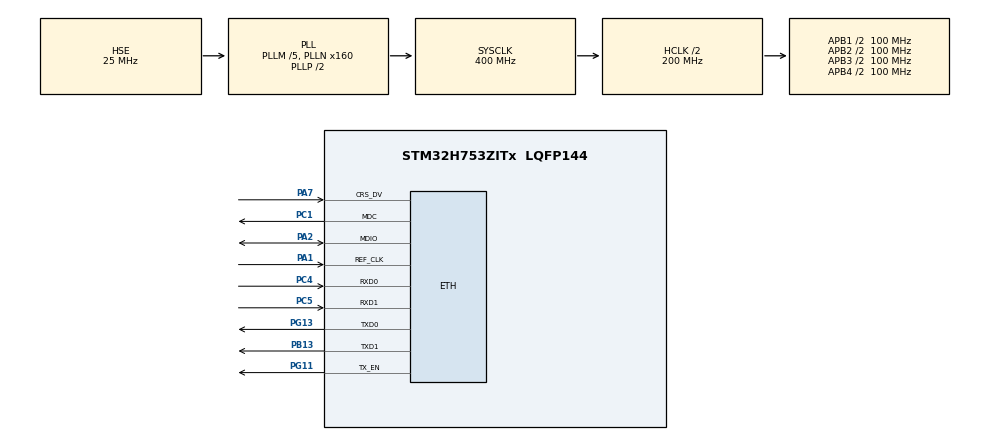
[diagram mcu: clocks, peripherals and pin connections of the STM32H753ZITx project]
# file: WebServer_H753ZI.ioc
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ADC3.Channel-0\#ChannelRegularConversion=ADC_CHANNEL_TEMPSENSOR
ADC3.ClockPrescalerADC3=ADC_CLOCK_ASYNC_DIV16
ADC3.NbrOfConversionFlag=1
ADC3.OffsetNumber-0\#ChannelRegularConversion=ADC_OFFSET_NONE
ADC3.OffsetSignedSaturation-0\#ChannelRegularConversion=DISABLE
ADC3.Rank-0\#ChannelRegularConversion=1
ADC3.SamplingTime-0\#ChannelRegularConversion=ADC_SAMPLETIME_810CYCLES_5
CORTEX_M7.CPU_DCache=Disabled
CORTEX_M7.CPU_ICache=Enabled
CORTEX_M7.MPU_Control=MPU_PRIVILEGED_DEFAULT
CORTEX_M7.default_mode_Activation=1
ETH.MediaInterface=HAL_ETH_RMII_MODE
FREERTOS.Tasks01=defaultTask,24,128,StartDefaultTask,Default,NULL,Dynamic,NULL,NULL
FREERTOS.configTOTAL_HEAP_SIZE=32768
FREERTOS.configUSE_NEWLIB_REENTRANT=1
FREERTOS.configUSE_STATS_FORMATTING_FUNCTIONS=1
LWIP.BSP.number=1
LWIP.ETH_RX_BUFFER_CNT=16
LWIP.GATEWAY_ADDRESS=192.168.010.110
LWIP.IP_ADDRESS=192.168.010.172
LWIP.LWIP_DHCP=0
LWIP.MEMP_NUM_NETCONN=12
LWIP.MEMP_NUM_PBUF=32
LWIP.MEMP_NUM_TCP_PCB_LISTEN=10
LWIP.MEM_SIZE=16384
LWIP.NETMASK_ADDRESS=255.255.255.000
LWIP.PBUF_POOL_SIZE=32
LWIP.TCPIP_THREAD_STACKSIZE=2048
LWIP.Version=v2.2.1_Cube
LWIP0.BSP.STBoard=false
LWIP0.BSP.api=BSP_COMPONENT_DRIVER
LWIP0.BSP.component=LAN8742
LWIP0.BSP.instance=LAN8742
LWIP0.BSP.name=Driver_PHY
LWIP0.BSP.semaphore=S_LAN8742
LWIP0.BSP.solution=LAN8742
Mcu.Family=STM32H7
Mcu.Name=STM32H753ZITx
Mcu.Package=LQFP144
NUCLEO-H753ZI.BUTTON=1
NUCLEO-H753ZI.LD1=true
NUCLEO-H753ZI.LD2=true
NUCLEO-H753ZI.LD3=true
NUCLEO-H753ZI.VCP=true
NVIC.ETH_IRQn=true\:5\:0\:false\:false\:true\:true\:true\:true\:true
NVIC.EXTI15_10_IRQn=true\:5\:0\:false\:false\:true\:true\:false\:true\:true
NVIC.PriorityGroup=NVIC_PRIORITYGROUP_4
NVIC.TIM6_DAC_IRQn=true\:15\:0\:false\:false\:true\:false\:false\:true\:true
NVIC.TimeBase=TIM6_DAC_IRQn
NVIC.TimeBaseIP=TIM6
PA1.Mode=RMII
PA1.Signal=ETH_REF_CLK
PA2.Mode=RMII
PA2.Signal=ETH_MDIO
PA7.Mode=RMII
PA7.Signal=ETH_CRS_DV
PB13.Mode=RMII
PB13.Signal=ETH_TXD1
PC1.Mode=RMII
PC1.Signal=ETH_MDC
PC14-OSC32_IN\ (OSC32_IN).Signal=RCC_OSC32_IN
PC15-OSC32_OUT\ (OSC32_OUT).Signal=RCC_OSC32_OUT
PC4.Mode=RMII
PC4.Signal=ETH_RXD0
PC5.Mode=RMII
PC5.Signal=ETH_RXD1
PD8.Signal=USART3_TX
PD9.Signal=USART3_RX
PG11.Mode=RMII
PG11.Signal=ETH_TX_EN
PG13.Mode=RMII
PG13.Signal=ETH_TXD0
PH0-OSC_IN\ (PH0).Mode=HSE-External-Oscillator
PH0-OSC_IN\ (PH0).Signal=RCC_OSC_IN
PH1-OSC_OUT\ (PH1).Mode=HSE-External-Oscillator
PH1-OSC_OUT\ (PH1).Signal=RCC_OSC_OUT
ProjectManager.HeapSize=0x200
ProjectManager.StackSize=0x400
ProjectManager.TargetToolchain=STM32CubeIDE
RCC.ADCCLockSelection=RCC_ADCCLKSOURCE_CLKP
RCC.ADCFreq_Value=64000000
RCC.APB1Freq_Value=100000000
RCC.APB2Freq_Value=100000000
RCC.APB3Freq_Value=100000000
RCC.APB4Freq_Value=100000000
RCC.CortexFreq_Value=400000000
RCC.D1PPRE=RCC_APB3_DIV2
RCC.D2PPRE1=RCC_APB1_DIV2
RCC.D2PPRE2=RCC_APB2_DIV2
RCC.D3PPRE=RCC_APB4_DIV2
RCC.DIVM1=5
RCC.DIVM2=5
RCC.DIVM3=5
RCC.DIVN1=160
RCC.DIVQ1=4
RCC.HCLKFreq_Value=200000000
RCC.HPRE=RCC_HCLK_DIV2
RCC.HSE_VALUE=25000000
RCC.PLLFRACN=0
RCC.PLLSourceVirtual=RCC_PLLSOURCE_HSE
RCC.PWR_Regulator_Voltage_Scale=PWR_REGULATOR_VOLTAGE_SCALE1
RCC.SYSCLKFreq_VALUE=400000000
RCC.SYSCLKSource=RCC_SYSCLKSOURCE_PLLCLK
RCC.USBFreq_Value=200000000
VP_ADC3_TempSens_Input.Mode=IN-TempSens
VP_ADC3_Vref_Input.Mode=IN-Vrefint
VP_FREERTOS_VS_CMSIS_V2.Mode=CMSIS_V2
VP_LWIP_VS_Enabled.Mode=Enabled
VP_MEMORYMAP_VS_MEMORYMAP.Mode=CurAppReg
VP_NUCLEO-H753ZI_VS_BSP_COMMON.Mode=COMMON
VP_SYS_VS_tim6.Mode=TIM6
board=NUCLEO-H753ZI

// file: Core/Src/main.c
/* USER CODE BEGIN Header */
/**
  ******************************************************************************
  * @file           : main.c
  * @brief          : Main program body
  ******************************************************************************
  * @attention
  *
  * Copyright (c) 2026 STMicroelectronics.
  * All rights reserved.
  *
  * This software is licensed under terms that can be found in the LICENSE file
  * in the root directory of this software component.
  * If no LICENSE file comes with this software, it is provided AS-IS.
  *
  ******************************************************************************
  */
/* USER CODE END Header */
#include "main.h"
#include "FreeRTOS.h"
#include "cmsis_os2.h"
#include "lwip.h"

/* USER CODE BEGIN Includes */
#include "lwip/api.h"
#include <string.h>
/* USER CODE END Includes */

COM_InitTypeDef BspCOMInit;
ADC_HandleTypeDef hadc3;

/* Definitions for defaultTask */
osThreadId_t defaultTaskHandle;
const osThreadAttr_t defaultTask_attributes = {
  .name = "defaultTask",
  .stack_size = 4096 * 4,
  .priority = (osPriority_t) osPriorityNormal,
};

void SystemClock_Config(void);
void PeriphCommonClock_Config(void);
static void MPU_Config(void);
static void MX_GPIO_Init(void);
static void MX_ADC3_Init(void);
void StartDefaultTask(void *argument);

/* USER CODE BEGIN 0 */
#include <stdio.h>
#include <string.h>

/* Adicione as duas linhas abaixo para o compilador reconhecer as funções nativas */
#include "FreeRTOS.h"
#include "task.h"

/* FUNÇÃO DE DELAY ULTRA-PRECISO USANDO O CONTADOR DE CICLOS DA CPU (DWT) */
void DWT_Delay_ms(uint32_t ms) {
    uint32_t startTicks = DWT->CYCCNT;
    uint32_t delayTicks = ms * (SystemCoreClock / 1000);
    while ((DWT->CYCCNT - startTicks) < delayTicks);
}

/* FUNÇÃO DE LEITURA DA TEMPERATURA DA MCU VIA ADC3 */
float Read_MCU_Temperature(void)
{
    uint32_t raw_val = 0;

    HAL_ADC_Start(&hadc3);

    if (HAL_ADC_PollForConversion(&hadc3, 10) == HAL_OK)
    {
        raw_val = HAL_ADC_GetValue(&hadc3);
    }

    HAL_ADC_Stop(&hadc3);

    // Conversão de 16-bit resolution do STM32H7 para Celsius
    float temperature = (((float)raw_val * (3.3f / 65535.0f)) - 0.76f) / 0.025f + 25.0f;

    return temperature;
}

void BlinkTask(void *argument) {
  while(1) {
    BSP_LED_Toggle(LED_YELLOW);
    osDelay(500);
  }
}

static void http_server_serve(struct netconn *conn) {
  struct netbuf *inbuf;
  char *buf;
  u16_t buflen;
  err_t err;

  err = netconn_recv(conn, &inbuf);
  if (err == ERR_OK) {
    netbuf_data(inbuf, (void**)&buf, &buflen);

    /* 1. SE O NAVEGADOR PEDIR A PÁGINA PRINCIPAL (GET / ) */
    if (buflen >= 6 && strncmp(buf, "GET / ", 6) == 0) {

    	char html_page[6000];
    	      snprintf(html_page, 6000,
    	          "HTTP/1.1 200 OK\r\n"
    	          "Content-Type: text/html; charset=utf-8\r\n"
    	          "Connection: close\r\n\r\n"
    	          "<!DOCTYPE HTML>"
    	          "<html>"
    	          "<head>"
    	          "  <title>Dashboard STM32H7</title>"
    	          "  <meta charset='utf-8'>"
    	          "  <meta name='viewport' content='width=device-width, initial-scale=1.0'>" // <--- ADICIONADO AQUI
    	          "  <style>"
    	          "    body { font-family: 'Segoe UI', Tahoma, Geneva, Verdana, sans-serif; background-color: #0f172a; color: #f8fafc; margin: 0; padding: 10px; }"
    	          "    .container { width: 100%%; max-width: 950px; margin: auto; box-sizing: border-box; }" // <--- AJUSTADO AQUI
    	          "    .header { background: linear-gradient(135deg, #3b82f6, #1d4ed8); padding: 15px; border-radius: 12px; text-align: center; box-shadow: 0 4px 6px rgba(0,0,0,0.3); margin-bottom: 15px; }"
    	          "    .header h2 { margin: 0; color: #ffffff; font-size: 20px; }"
    	          "    .header p { margin: 5px 0 0 0; color: #cbd5e1; font-size: 13px; }"
    	          "    .grid { display: grid; grid-template-columns: repeat(auto-fit, minmax(240px, 1fr)); gap: 15px; margin-bottom: 15px; }"
    	          "    .card { background: #1e293b; padding: 15px; border-radius: 12px; box-shadow: 0 4px 6px rgba(0,0,0,0.2); border-left: 5px solid #3b82f6; }"
    	          "    .card.temp { border-left-color: #ef4444; }"
    	          "    .card.ram { border-left-color: #10b981; }"
    	          "    .card.uptime { border-left-color: #f59e0b; }"
    	          "    .card h3 { margin-top: 0; font-size: 12px; color: #94a3b8; text-transform: uppercase; letter-spacing: 1px; }"
    	          "    .card .value { font-size: 22px; font-weight: bold; color: #f8fafc; margin-top: 5px; }"
    	          "    .tasks-card { background: #1e293b; padding: 15px; border-radius: 12px; box-shadow: 0 4px 6px rgba(0,0,0,0.2); margin-top: 15px; overflow-x: auto; }"
    	          "    .tasks-card h3 { margin-top: 0; color: #38bdf8; border-bottom: 1px solid #334155; padding-bottom: 8px; font-size: 15px; }"
    	          "    pre { background: #0f172a; color: #38bdf8; padding: 10px; border-radius: 8px; overflow-x: auto; font-family: 'Courier New', Courier, monospace; font-size: 12px; border: 1px solid #334155; margin: 0; }"
    	          "    button { touch-action: manipulation; }" // Melhora o toque em telas mobile
    	          "  </style>"
    	          // ... (o restante do script e do corpo HTML continua exatamente igual)
          "  <script>"
          "    let tempoSelecionado = 0;"
          "    "
          "    function ajustarTempo(valor) {"
          "      tempoSelecionado += valor;"
          "      if (tempoSelecionado < 0) tempoSelecionado = 0;"
          "      if (tempoSelecionado > 5000) tempoSelecionado = 5000;"
          "      document.getElementById('tempoPulsoVal').innerText = tempoSelecionado + ' ms';"
          "    }"
          "    "
          "    function dispararPulso() {"
          "      fetch('/disparo?tempo=' + tempoSelecionado)"
          "        .then(response => response.text())"
          "        .then(res => {"
          "           alert('Pulso de ' + tempoSelecionado + ' ms enviado com sucesso!');"
          "        })"
          "        .catch(error => console.log('Erro no disparo'));"
          "    }"
          "    "
          "    function atualizarPainel() {"
          "      fetch('/metrics')"
          "        .then(res => res.text())"
          "        .then(html => { document.getElementById('metrics').innerHTML = html; });"
          "      "
          "      fetch('/tasks')"
          "        .then(res => res.text())"
          "        .then(html => { document.getElementById('tasks').innerHTML = html; });"
          "    }"
          "    "
          "    atualizarPainel();"
          "    setInterval(atualizarPainel, 2000);"
          "  </script>"
          "</head>"
          "<body>"
          "  <div class='container'>"
          "    <div class='header'>"
          "      <h2>Painel de Controle STM32H753ZI</h2>"
          "      <p>Desenvolvido por Junior Lopes</p>"
          "    </div>"
          "    "
          "    <div id='metrics'>"
          "      <p style='text-align:center; color:#94a3b8;'>Carregando métricas...</p>"
          "    </div>"
          "    "
          "    <div class='card' style='border-left-color: #8b5cf6; margin-top: 20px; margin-bottom: 20px;'>"
          "      <h3>Gerador de Pulso Digital</h3>"
          "      <div class='value' id='tempoPulsoVal' style='margin-bottom: 15px;'>0 ms</div>"
          "      <button onclick='ajustarTempo(-10)' style='padding: 8px 15px; background: #334155; color: white; border: none; border-radius: 6px; cursor: pointer; font-weight: bold; margin-right: 5px;'>- 10 ms</button>"
          "      <button onclick='ajustarTempo(10)' style='padding: 8px 15px; background: #334155; color: white; border: none; border-radius: 6px; cursor: pointer; font-weight: bold; margin-right: 15px;'>+ 10 ms</button>"
          "      <button onclick='dispararPulso()' style='padding: 8px 20px; background: #8b5cf6; color: white; border: none; border-radius: 6px; cursor: pointer; font-weight: bold;'>Disparar Pulso</button>"
          "    </div>"
          "    "
          "    <div id='tasks'>"
          "      <p style='text-align:center; color:#94a3b8;'>Carregando tarefas...</p>"
          "    </div>"
          "    "
          "  </div>"
          "</body>"
          "</html>"
      );
      netconn_write(conn, html_page, strlen(html_page), NETCONN_COPY);
    }

    /* 2. ROTA PARA OS CARDS DE TOPO (GET /metrics ) */
    else if (strstr(buf, "GET /metrics") != NULL) {
      char metrics_buffer[512];
      uint32_t uptime_s = xTaskGetTickCount() / 1000;
      uint32_t free_heap = xPortGetFreeHeapSize();
      float mcu_temp = Read_MCU_Temperature();

      int temp_int = (int)mcu_temp;
      int temp_dec = (int)((mcu_temp - temp_int) * 100);
      if (temp_dec < 0) temp_dec = -temp_dec;

      snprintf(metrics_buffer, sizeof(metrics_buffer),
          "HTTP/1.1 200 OK\r\n"
          "Content-Type: text/html; charset=utf-8\r\n"
          "Connection: close\r\n\r\n"
          "<div class='grid'>"
          "  <div class='card uptime'>"
          "    <h3>Tempo Ligado (Uptime)</h3>"
          "    <div class='value'>%lu s</div>"
          "  </div>"
          "  <div class='card ram'>"
          "    <h3>Memória RAM Livre</h3>"
          "    <div class='value'>%lu bytes</div>"
          "  </div>"
          "  <div class='card temp'>"
          "    <h3>Temperatura da MCU</h3>"
          "    <div class='value'>%d.%02d &deg;C</div>"
          "  </div>"
          "</div>",
          uptime_s, free_heap, temp_int, temp_dec
      );
      netconn_write(conn, metrics_buffer, strlen(metrics_buffer), NETCONN_COPY);
    }

    /* 3. ROTA PARA A TABELA DE TAREFAS (GET /tasks ) */
    else if (strstr(buf, "GET /tasks") != NULL) {
      char tasks_buffer[1024];
      char task_list_buffer[512];
      vTaskList(task_list_buffer);

      snprintf(tasks_buffer, sizeof(tasks_buffer),
          "HTTP/1.1 200 OK\r\n"
          "Content-Type: text/html; charset=utf-8\r\n"
          "Connection: close\r\n\r\n"
          "<div class='tasks-card'>"
          "  <h3>Status das Tarefas (FreeRTOS)</h3>"
          "  <p style='color:#94a3b8; font-size:12px;'><i>(Nome, Estado, Prioridade, Pilha Sobrando, ID)</i></p>"
          "  <pre>%s</pre>"
          "</div>",
          task_list_buffer
      );
      netconn_write(conn, tasks_buffer, strlen(tasks_buffer), NETCONN_COPY);
    }

    /* 4. ROTA DE DISPARO DE PULSO (GET /disparo ) */
        else if (strstr(buf, "GET /disparo") != NULL) {
          int tempo_ms = 500;

          char *p = strstr(buf, "tempo=");
          if (p != NULL) {
              tempo_ms = atoi(p + 6);
          }

          if (tempo_ms < 0) tempo_ms = 0;
          if (tempo_ms > 5000) tempo_ms = 5000;

          // --- PROTEÇÃO PARA O TEMPO 0 (NÃO DISPARA NADA) ---
          if (tempo_ms == 0) {
              char resp_buffer[64];
              snprintf(resp_buffer, sizeof(resp_buffer), "HTTP/1.1 200 OK\r\n\r\nPulso ignorado (0 ms)");
              netconn_write(conn, resp_buffer, strlen(resp_buffer), NETCONN_COPY);
          }
          else {
              // --- ACIONAMENTO DUPLO (LED Vermelho + Pino PB1 para o Osciloscópio) ---
              BSP_LED_On(LED_RED);                        // Liga o LED Vermelho físico
              HAL_GPIO_WritePin(GPIOB, GPIO_PIN_1, GPIO_PIN_SET); // <--- Coloca PB1 em Nível Alto (3.3V)

              // Multiplica por 19 para compensar o clock real do hardware do H7
              TIM2->ARR = tempo_ms * 19;
              TIM2->EGR = TIM_EGR_UG;   // Atualiza o evento do timer
              TIM2->CR1 |= TIM_CR1_CEN; // Dispara a contagem por hardware

              // Aguarda o hardware do TIM2 concluir o tempo exato de forma autônoma
              while ((TIM2->CR1 & TIM_CR1_CEN) != 0);

              // Desliga ambos ao mesmo tempo
              BSP_LED_Off(LED_RED);                       // Apaga o LED Vermelho
              HAL_GPIO_WritePin(GPIOB, GPIO_PIN_1, GPIO_PIN_RESET); // <--- Retorna PB1 para 0V
              // --------------------------------------------------------------------

              char resp_buffer[64];
              snprintf(resp_buffer, sizeof(resp_buffer), "HTTP/1.1 200 OK\r\n\r\nPulso de %d ms OK", tempo_ms);
              netconn_write(conn, resp_buffer, strlen(resp_buffer), NETCONN_COPY);
          }
        }

    netbuf_delete(inbuf);
  }
  netconn_close(conn);
}

/* USER CODE END 0 */

int main(void)
{

  /* MPU Configuration--------------------------------------------------------*/
  MPU_Config();

  /* Enable the CPU Cache */

  /* Enable I-Cache---------------------------------------------------------*/
  SCB_EnableICache();

  /* MCU Configuration--------------------------------------------------------*/

  /* Reset of all peripherals, Initializes the Flash interface and the Systick. */
  HAL_Init();

  /* Configure the system clock */
  SystemClock_Config();

  /* Configure the peripherals common clocks */
  PeriphCommonClock_Config();

  /* Initialize all configured peripherals */
  MX_GPIO_Init();
  MX_ADC3_Init();

  /* USER CODE BEGIN 2 */
      // 1. Configuração manual do pino PB1 como Saída Digital (para o osciloscópio)
      GPIO_InitTypeDef GPIO_InitStruct = {0};
      __HAL_RCC_GPIOB_CLK_ENABLE();

      GPIO_InitStruct.Pin = GPIO_PIN_1;
      GPIO_InitStruct.Mode = GPIO_MODE_OUTPUT_PP;
      GPIO_InitStruct.Pull = GPIO_NOPULL;
      GPIO_InitStruct.Speed = GPIO_SPEED_FREQ_HIGH;
      HAL_GPIO_Init(GPIOB, &GPIO_InitStruct);

      // 2. Configuração manual do TIM2 com frequência fixa real de 200 MHz do H7
      __HAL_RCC_TIM2_CLK_ENABLE();

      // O barramento APB1 do timer opera a 200 MHz baseado no seu SystemClock_Config
      // Dividimos por 200.000 para que cada incremento do timer valia exatamente 1 milissegundo (1 kHz)
      TIM2->PSC = 200000 - 1;
      TIM2->CR1 |= TIM_CR1_OPM; // Ativa o Modo de Pulso Único (para sozinho após o tempo)
    /* USER CODE END 2 */

  /* Init scheduler */
  osKernelInitialize();

  /* Create the thread(s) */
  /* creation of defaultTask */
  defaultTaskHandle = osThreadNew(StartDefaultTask, NULL, &defaultTask_attributes);

  /* USER CODE BEGIN RTOS_THREADS */
    const osThreadAttr_t blinkTask_attributes = {
      .name = "blinkTask",
      .stack_size = 128 * 4,
      .priority = (osPriority_t) osPriorityNormal,
    };
    osThreadNew(BlinkTask, NULL, &blinkTask_attributes);
  /* USER CODE END RTOS_THREADS */

  /* Initialize leds */
  BSP_LED_Init(LED_GREEN);
  BSP_LED_Init(LED_YELLOW);
  BSP_LED_Init(LED_RED);

  /* Initialize USER push-button, will be used to trigger an interrupt each time it's pressed.*/
  BSP_PB_Init(BUTTON_USER, BUTTON_MODE_EXTI);

  /* Initialize COM1 port (115200, 8 bits (7-bit data + 1 stop bit), no parity */
  BspCOMInit.BaudRate   = 115200;
  BspCOMInit.WordLength = COM_WORDLENGTH_8B;
  BspCOMInit.StopBits   = COM_STOPBITS_1;
  BspCOMInit.Parity     = COM_PARITY_NONE;
  BspCOMInit.HwFlowCtl  = COM_HWCONTROL_NONE;
  if (BSP_COM_Init(COM1, &BspCOMInit) != BSP_ERROR_NONE)
  {
    Error_Handler();
  }

  /* Start scheduler */
  osKernelStart();

  /* We should never get here as control is now taken by the scheduler */

  /* Infinite loop */
  while (1)
  {

  }
}

void SystemClock_Config(void)
{
  RCC_OscInitTypeDef RCC_OscInitStruct = {0};
  RCC_ClkInitTypeDef RCC_ClkInitStruct = {0};

  /** Supply configuration update enable
  */
  HAL_PWREx_ConfigSupply(PWR_LDO_SUPPLY);

  /** Configure the main internal regulator output voltage
  */
  __HAL_PWR_VOLTAGESCALING_CONFIG(PWR_REGULATOR_VOLTAGE_SCALE1);

  while(!__HAL_PWR_GET_FLAG(PWR_FLAG_VOSRDY)) {}

  /** Initializes the RCC Oscillators according to the specified parameters
  * in the RCC_OscInitTypeDef structure.
  */
  RCC_OscInitStruct.OscillatorType = RCC_OSCILLATORTYPE_HSI|RCC_OSCILLATORTYPE_HSE;
  RCC_OscInitStruct.HSEState = RCC_HSE_ON;
  RCC_OscInitStruct.HSIState = RCC_HSI_DIV1;
  RCC_OscInitStruct.HSICalibrationValue = RCC_HSICALIBRATION_DEFAULT;
  RCC_OscInitStruct.PLL.PLLState = RCC_PLL_ON;
  RCC_OscInitStruct.PLL.PLLSource = RCC_PLLSOURCE_HSE;
  RCC_OscInitStruct.PLL.PLLM = 5;
  RCC_OscInitStruct.PLL.PLLN = 160;
  RCC_OscInitStruct.PLL.PLLP = 2;
  RCC_OscInitStruct.PLL.PLLQ = 4;
  RCC_OscInitStruct.PLL.PLLR = 2;
  RCC_OscInitStruct.PLL.PLLRGE = RCC_PLL1VCIRANGE_2;
  RCC_OscInitStruct.PLL.PLLVCOSEL = RCC_PLL1VCOWIDE;
  RCC_OscInitStruct.PLL.PLLFRACN = 0;
  if (HAL_RCC_OscConfig(&RCC_OscInitStruct) != HAL_OK)
  {
    Error_Handler();
  }

  /** Initializes the CPU, AHB and APB buses clocks
  */
  RCC_ClkInitStruct.ClockType = RCC_CLOCKTYPE_HCLK|RCC_CLOCKTYPE_SYSCLK
                              |RCC_CLOCKTYPE_PCLK1|RCC_CLOCKTYPE_PCLK2
                              |RCC_CLOCKTYPE_D3PCLK1|RCC_CLOCKTYPE_D1PCLK1;
  RCC_ClkInitStruct.SYSCLKSource = RCC_SYSCLKSOURCE_PLLCLK;
  RCC_ClkInitStruct.SYSCLKDivider = RCC_SYSCLK_DIV1;
  RCC_ClkInitStruct.AHBCLKDivider = RCC_HCLK_DIV2;
  RCC_ClkInitStruct.APB3CLKDivider = RCC_APB3_DIV2;
  RCC_ClkInitStruct.APB1CLKDivider = RCC_APB1_DIV2;
  RCC_ClkInitStruct.APB2CLKDivider = RCC_APB2_DIV2;
  RCC_ClkInitStruct.APB4CLKDivider = RCC_APB4_DIV2;

  if (HAL_RCC_ClockConfig(&RCC_ClkInitStruct, FLASH_LATENCY_2) != HAL_OK)
  {
    Error_Handler();
  }
}

void PeriphCommonClock_Config(void)
{
  RCC_PeriphCLKInitTypeDef PeriphClkInitStruct = {0};

  /** Initializes the peripherals clock
  */
  PeriphClkInitStruct.PeriphClockSelection = RCC_PERIPHCLK_CKPER;
  PeriphClkInitStruct.CkperClockSelection = RCC_CLKPSOURCE_HSI;
  if (HAL_RCCEx_PeriphCLKConfig(&PeriphClkInitStruct) != HAL_OK)
  {
    Error_Handler();
  }
}

static void MX_ADC3_Init(void)
{

  ADC_ChannelConfTypeDef sConfig = {0};

  /** Common config
  */
  hadc3.Instance = ADC3;
  hadc3.Init.ClockPrescaler = ADC_CLOCK_ASYNC_DIV16;
  hadc3.Init.ScanConvMode = ADC_SCAN_DISABLE;
  hadc3.Init.EOCSelection = ADC_EOC_SINGLE_CONV;
  hadc3.Init.LowPowerAutoWait = DISABLE;
  hadc3.Init.ContinuousConvMode = DISABLE;
  hadc3.Init.NbrOfConversion = 1;
  hadc3.Init.DiscontinuousConvMode = DISABLE;
  hadc3.Init.ExternalTrigConv = ADC_SOFTWARE_START;
  hadc3.Init.ExternalTrigConvEdge = ADC_EXTERNALTRIGCONVEDGE_NONE;
  hadc3.Init.ConversionDataManagement = ADC_CONVERSIONDATA_DR;
  hadc3.Init.Overrun = ADC_OVR_DATA_PRESERVED;
  hadc3.Init.LeftBitShift = ADC_LEFTBITSHIFT_NONE;
  hadc3.Init.OversamplingMode = DISABLE;
  hadc3.Init.Oversampling.Ratio = 1;
  if (HAL_ADC_Init(&hadc3) != HAL_OK)
  {
    Error_Handler();
  }
  hadc3.Init.Resolution = ADC_RESOLUTION_16B;
  if (HAL_ADC_Init(&hadc3) != HAL_OK)
  {
    Error_Handler();
  }

  /** Configure Regular Channel
  */
  sConfig.Channel = ADC_CHANNEL_TEMPSENSOR;
  sConfig.Rank = ADC_REGULAR_RANK_1;
  sConfig.SamplingTime = ADC_SAMPLETIME_810CYCLES_5;
  sConfig.SingleDiff = ADC_SINGLE_ENDED;
  sConfig.OffsetNumber = ADC_OFFSET_NONE;
  sConfig.Offset = 0;
  sConfig.OffsetSignedSaturation = DISABLE;
  if (HAL_ADC_ConfigChannel(&hadc3, &sConfig) != HAL_OK)
  {
    Error_Handler();
  }

}

static void MX_GPIO_Init(void)
{

  /* GPIO Ports Clock Enable */
  __HAL_RCC_GPIOC_CLK_ENABLE();
  __HAL_RCC_GPIOH_CLK_ENABLE();
  __HAL_RCC_GPIOA_CLK_ENABLE();
  __HAL_RCC_GPIOB_CLK_ENABLE();
  __HAL_RCC_GPIOG_CLK_ENABLE();

}

  /* USER CODE BEGIN 5 */
void StartDefaultTask(void *argument)
{

	/* Espera 3 segundos para a Auto-Negociação física do cabo de rede terminar */
    osDelay(7000);

	/* init code for LWIP */

	MX_LWIP_Init();

  /* USER CODE BEGIN 5 */
    struct netconn *conn, *newconn;
    err_t err;

    /* Cria uma nova conexão TCP */
    conn = netconn_new(NETCONN_TCP);
    if (conn != NULL) {
      /* Liga a porta 80 (HTTP) */
      err = netconn_bind(conn, NULL, 80);
      if (err == ERR_OK) {
        /* Começa a ouvir a porta */
        netconn_listen(conn);

        while (1) {
          /* Fica aguardando alguém acessar pelo navegador */
          err = netconn_accept(conn, &newconn);
          if (err == ERR_OK) {
            http_server_serve(newconn);
            netconn_delete(newconn);
          }
        }
      }
    }

    /* Loop de segurança caso a alocação falhe */
    for(;;)
    {
      osDelay(1000);
    }
}
  /* USER CODE END 5 */

 /* MPU Configuration */

void MPU_Config(void)
{
  MPU_Region_InitTypeDef MPU_InitStruct = {0};

  /* Disables the MPU */
  HAL_MPU_Disable();

  /** Initializes and configures the Region and the memory to be protected
  */
  MPU_InitStruct.Enable = MPU_REGION_ENABLE;
  MPU_InitStruct.Number = MPU_REGION_NUMBER0;
  MPU_InitStruct.BaseAddress = 0x0;
  MPU_InitStruct.Size = MPU_REGION_SIZE_4GB;
  MPU_InitStruct.SubRegionDisable = 0x87;
  MPU_InitStruct.TypeExtField = MPU_TEX_LEVEL0;
  MPU_InitStruct.AccessPermission = MPU_REGION_NO_ACCESS;
  MPU_InitStruct.DisableExec = MPU_INSTRUCTION_ACCESS_DISABLE;
  MPU_InitStruct.IsShareable = MPU_ACCESS_SHAREABLE;
  MPU_InitStruct.IsCacheable = MPU_ACCESS_NOT_CACHEABLE;
  MPU_InitStruct.IsBufferable = MPU_ACCESS_NOT_BUFFERABLE;

  HAL_MPU_ConfigRegion(&MPU_InitStruct);
  /* Enables the MPU */
  HAL_MPU_Enable(MPU_PRIVILEGED_DEFAULT);

}

void HAL_TIM_PeriodElapsedCallback(TIM_HandleTypeDef *htim)
{
  if (htim->Instance == TIM6)
  {
    HAL_IncTick();
  }
}

void Error_Handler(void)
{
  /* USER CODE BEGIN Error_Handler_Debug */
  __disable_irq();
  while (1)
  {
    BSP_LED_Toggle(LED_RED);
    HAL_Delay(100); /* Pisca muito rápido */
  }
  /* USER CODE END Error_Handler_Debug */
}
